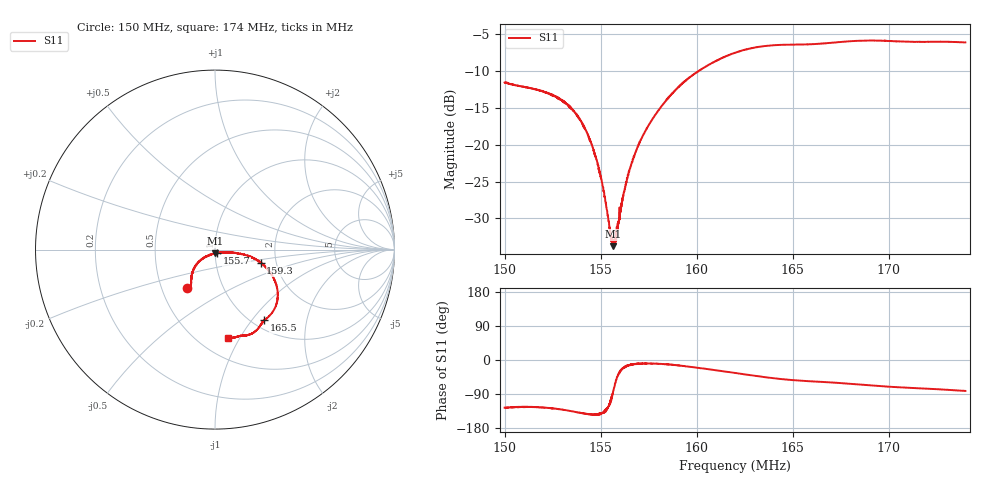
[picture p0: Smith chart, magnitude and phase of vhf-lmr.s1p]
! Calibrated averaged scanner-service zoom
# Hz S RI R 50
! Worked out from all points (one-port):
!   2001 points, 150 MHz to 174 MHz, reference 50 ohm
!   lowest |S11| = -33.8 dB at 155.7 MHz (marker M1), VSWR 1.04, Z = 50.2 - j2.04 ohm
!   |S11| at or under -10 dB: start of sweep to 160.1 MHz
!   S11 on the Smith chart (normalised r, x): 150 MHz: 0.67, -0.31; 155.7 MHz: 1.02, -0.04; 159.3 MHz: 1.66, -0.26; 165.5 MHz: 1.13, -1.16; 174 MHz: 0.68, -0.89
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1.5e8  -0.1558 -0.2143
1.5198e8  -0.1334 -0.1878
1.53e8  -0.1311 -0.1518
1.53864e8  -0.113 -0.1001
1.5426e8  -0.0964 -0.0761
1.54548e8  -0.0809 -0.0589
1.54812e8  -0.0625 -0.0453
1.55028e8  -0.0466 -0.0372
1.5522e8  -0.0306 -0.0315
1.55508e8  -0.00981 -0.0223
1.55652e8  0.00202 -0.0204
1.55748e8  0.0111 -0.0206
1.55832e8  0.015 -0.0183
1.56e8  0.0265 -0.0162
1.5624e8  0.0457 -0.0153
1.56492e8  0.064 -0.015
1.57044e8  0.1019 -0.0175
1.57884e8  0.1603 -0.0269
1.59e8  0.2357 -0.0578
1.59324e8  0.2543 -0.0734
1.60548e8  0.3152 -0.1395
1.62e8  0.3492 -0.2374
1.63596e8  0.3294 -0.3349
1.65e8  0.2875 -0.3832
1.65504e8  0.2751 -0.3932
1.68e8  0.2316 -0.4488
1.71e8  0.1459 -0.4801
1.74e8  0.0723 -0.4908
